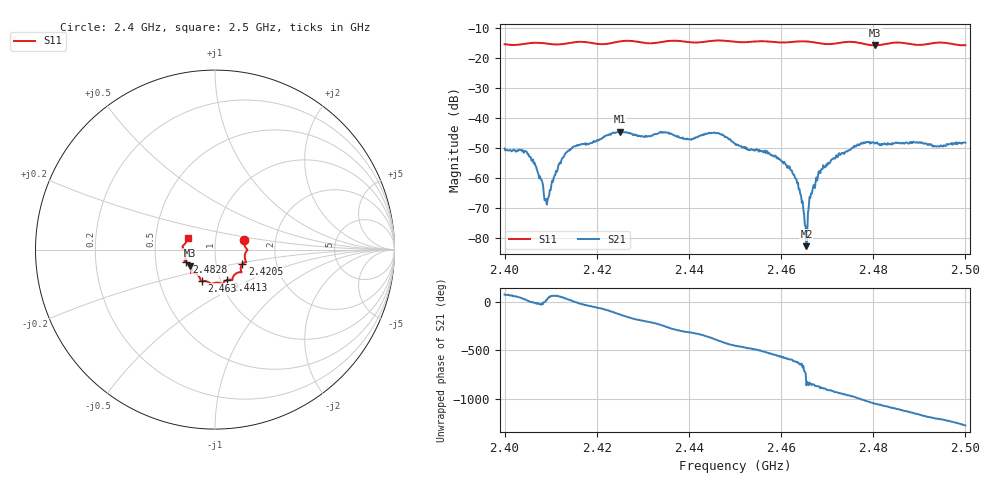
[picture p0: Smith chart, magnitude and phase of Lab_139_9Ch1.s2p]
# Hz S RI R 50
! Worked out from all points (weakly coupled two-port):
!   601 points, 2.4 GHz to 2.5 GHz, reference 50 ohm
!   highest |S21| = -44.54 dB at 2.425 GHz (marker M1); lowest = -82.8 dB at 2.4655 GHz (marker M2)
!   lowest |S11| = -15.7 dB at 2.4803 GHz (marker M3), VSWR 1.39, Z = 37.4 - j6.81 ohm
!   |S11| at or under -10 dB: start of sweep to end of sweep
!   S12 and S22 are empty: the file has one direction only
!   S11 on the Smith chart (normalised r, x): 2.4 GHz: 1.38, +0.15; 2.4205 GHz: 1.34, -0.22; 2.4413 GHz: 1.08, -0.38; 2.463 GHz: 0.82, -0.29; 2.4828 GHz: 0.72, -0.10; 2.5 GHz: 0.73, +0.10
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2.4e9  0.1626 0.0523  0.000631 0.00303  0 0  0 0
2.405167e9  0.1769 0.00346  0.00244 0.000567  0 0  0 0
2.406667e9  0.1805 -2.63e-06  0.00159 -0.000326  0 0  0 0
2.409167e9  0.1748 -0.00842  0.000336 0.000129  0 0  0 0
2.412833e9  0.1663 -0.0465  0.00156 0.00161  0 0  0 0
2.416667e9  0.1737 -0.0695  0.00344 -0.00119  0 0  0 0
2.4205e9  0.1519 -0.0808  0.00204 -0.00378  0 0  0 0
2.425e9  0.1462 -0.1219  -0.00361 -0.0047  0 0  0 0
2.433333e9  0.1006 -0.1515  -0.00372 0.00414  0 0  0 0
2.441333e9  0.067 -0.1696  0.00374 0.0027  0 0  0 0
2.445833e9  0.0423 -0.1922  0.00492 -0.00263  0 0  0 0
2.45e9  0.0248 -0.1855  -0.000126 -0.00372  0 0  0 0
2.459167e9  -0.0389 -0.1801  -0.00212 0.000662  0 0  0 0
2.463e9  -0.0723 -0.1738  -0.000247 0.000991  0 0  0 0
2.4655e9  -0.0801 -0.1724  -5.85e-05 -4.33e-05  0 0  0 0
2.466667e9  -0.0813 -0.1673  -0.00042 -0.000353  0 0  0 0
2.468667e9  -0.0879 -0.1518  -0.00132 -0.000365  0 0  0 0
2.4715e9  -0.1134 -0.1323  -0.00191 0.000997  0 0  0 0
2.480333e9  -0.1372 -0.0887  0.00337 0.00168  0 0  0 0
2.482833e9  -0.159 -0.07  0.00365 -9.67e-05  0 0  0 0
2.483333e9  -0.1626 -0.0682  0.00361 -0.000453  0 0  0 0
2.5e9  -0.1517 0.0644  -0.00367 0.00128  0 0  0 0
